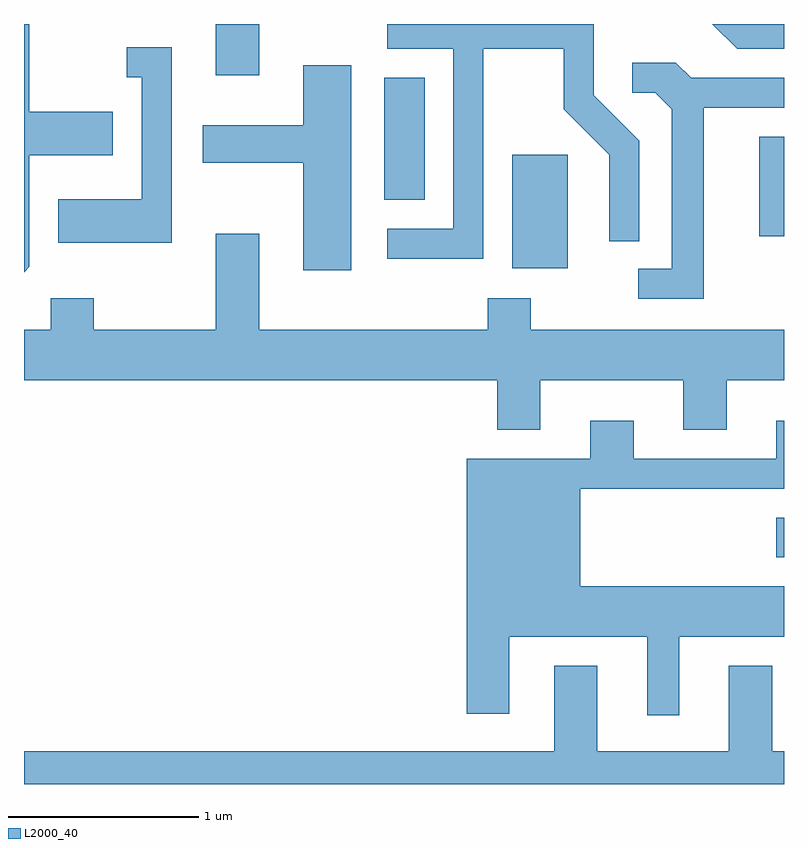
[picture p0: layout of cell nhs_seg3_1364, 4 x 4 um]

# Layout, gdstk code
import gdstk
lib = gdstk.Library(unit=1e-6, precision=1e-09)
def R(c, l, rs):  # rectangles x0, y0, x1, y1
    for r in rs: c.add(gdstk.rectangle(r[:2], r[2:], *l))
def P(c, l, *ps):  # polygons
    for p in ps: c.add(gdstk.Polygon(p, *l))
L2000_40 = (2000, 40)

nhs_seg3_1364 = lib.new_cell('nhs_seg3_1364')
R(nhs_seg3_1364, L2000_40, [(229.571,1125.086,229.611,1125.294), (228.181,1126.606,228.474,1127.204), (229.481,1126.776,229.611,1127.299), (227.506,1126.966,227.719,1127.609), (226.621,1127.621,226.849,1127.892)])
P(nhs_seg3_1364, L2000_40, [(225.639,1126.614),(225.639,1127.201),(226.079,1127.201),(226.079,1127.429),(225.639,1127.429),(225.639,1127.892),(225.611,1127.892),(225.611,1126.586)],
  [(229.611,1127.892),(229.233,1127.892),(229.364,1127.761),(229.611,1127.761)],
  [(228.029,1127.761),(228.451,1127.761),(228.451,1127.444),(228.691,1127.204),(228.691,1126.748),(228.849,1126.748),(228.849,1127.277),(228.609,1127.517),(228.609,1127.892),(227.523,1127.892),(227.523,1127.761),(227.871,1127.761),(227.871,1126.814),(227.523,1126.814),(227.523,1126.656),(228.029,1126.656)],
  [(226.389,1127.769),(226.153,1127.769),(226.153,1127.611),(226.231,1127.611),(226.231,1126.969),(225.791,1126.969),(225.791,1126.741),(226.389,1126.741)],
  [(229.189,1127.451),(229.611,1127.451),(229.611,1127.609),(229.122,1127.609),(229.042,1127.689),(228.813,1127.689),(228.813,1127.531),(228.934,1127.531),(229.021,1127.444),(229.021,1126.604),(228.843,1126.604),(228.843,1126.446),(229.189,1126.446)],
  [(227.334,1127.674),(227.081,1127.674),(227.081,1127.359),(226.551,1127.359),(226.551,1127.161),(227.081,1127.161),(227.081,1126.596),(227.334,1126.596)],
  [(228.329,1126.016),(229.081,1126.016),(229.081,1125.756),(229.309,1125.756),(229.309,1126.016),(229.611,1126.016),(229.611,1126.284),(228.279,1126.284),(228.279,1126.449),(228.051,1126.449),(228.051,1126.284),(226.849,1126.284),(226.849,1126.789),(226.621,1126.789),(226.621,1126.284),(225.979,1126.284),(225.979,1126.449),(225.751,1126.449),(225.751,1126.284),(225.611,1126.284),(225.611,1126.016),(228.101,1126.016),(228.101,1125.756),(228.329,1125.756)],
  [(229.059,1124.666),(229.611,1124.666),(229.611,1124.934),(228.539,1124.934),(228.539,1125.446),(229.611,1125.446),(229.611,1125.804),(229.571,1125.804),(229.571,1125.604),(228.819,1125.604),(228.819,1125.804),(228.591,1125.804),(228.591,1125.604),(227.941,1125.604),(227.941,1124.261),(228.164,1124.261),(228.164,1124.666),(228.891,1124.666),(228.891,1124.253),(229.059,1124.253)],
  [(229.611,1124.064),(229.549,1124.064),(229.549,1124.514),(229.321,1124.514),(229.321,1124.064),(228.629,1124.064),(228.629,1124.514),(228.401,1124.514),(228.401,1124.064),(225.611,1124.064),(225.611,1123.892),(229.611,1123.892)])

lib.write_gds('nhs_seg3_1364.gds')
